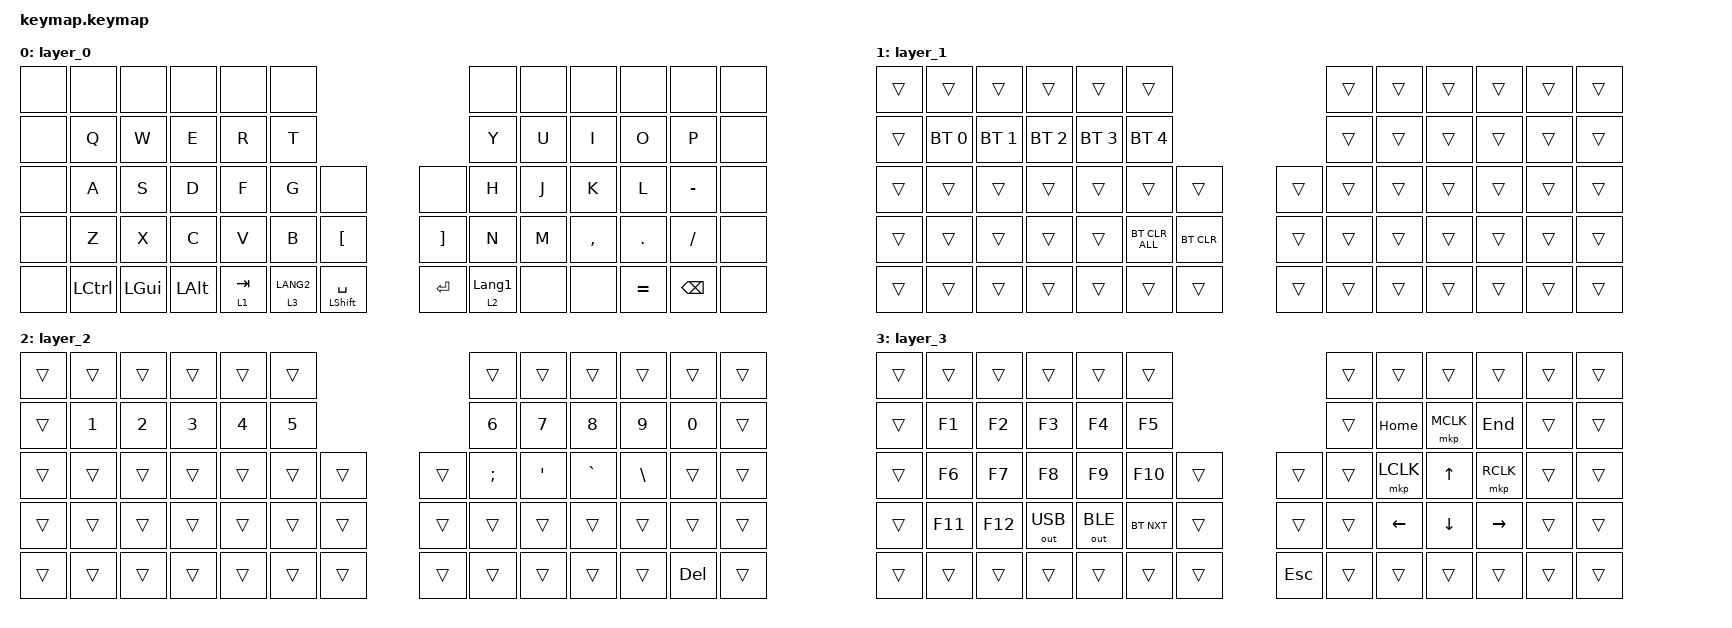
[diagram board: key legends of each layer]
#include <input/processors.dtsi>
#include <behaviors.dtsi>
#include <dt-bindings/zmk/bt.h>
#include <dt-bindings/zmk/keys.h>
#include <dt-bindings/zmk/outputs.h>
#include <dt-bindings/zmk/pointing.h>

/ {
    combos {
        compatible = "zmk,combos";

        bt_clear {
            bindings = <&bt BT_CLR>;
            key-positions = <28 29>;
            layers = <2>;
        };
    };

    behaviors {
        scroll_layer: scroll_layer {
            compatible = "zmk,behavior-hold-tap";
            label = "SCROLL_LAYER";
            bindings = <&mo>, <&kp>;

            #binding-cells = <2>;
            tapping-term-ms = <120>;
            flavor = "tap-preferred";
        };
    };

    keymap {
        compatible = "zmk,keymap";

        layer_0 {
            bindings = <
&none  &none      &none     &none     &none                &none                                                 &none             &none  &none      &none      &none          &none
&none  &kp Q      &kp W     &kp E     &kp R                &kp T                                                 &kp Y             &kp U  &kp I      &kp O      &kp P          &none
&none  &kp A      &kp S     &kp D     &kp F                &kp G        &none                 &none              &kp H             &kp J  &kp K      &kp L      &kp MINUS      &none
&none  &kp Z      &kp X     &kp C     &kp V                &kp B        &kp LEFT_BRACKET      &kp RIGHT_BRACKET  &kp N             &kp M  &kp COMMA  &kp DOT    &kp SLASH      &none
&none  &kp LCTRL  &kp LGUI  &kp LALT  &scroll_layer 1 TAB  &lt 3 LANG2  &mt LEFT_SHIFT SPACE  &kp ENTER          &lt 2 LANGUAGE_1  &none  &none      &kp EQUAL  &kp BACKSPACE  &none
            >;
        };

        layer_1 {
            bindings = <
&trans  &trans        &trans        &trans        &trans        &trans                              &trans  &trans  &trans  &trans  &trans  &trans
&trans  &bt BT_SEL 0  &bt BT_SEL 1  &bt BT_SEL 2  &bt BT_SEL 3  &bt BT_SEL 4                        &trans  &trans  &trans  &trans  &trans  &trans
&trans  &trans        &trans        &trans        &trans        &trans          &trans      &trans  &trans  &trans  &trans  &trans  &trans  &trans
&trans  &trans        &trans        &trans        &trans        &bt BT_CLR_ALL  &bt BT_CLR  &trans  &trans  &trans  &trans  &trans  &trans  &trans
&trans  &trans        &trans        &trans        &trans        &trans          &trans      &trans  &trans  &trans  &trans  &trans  &trans  &trans
            >;
        };

        layer_2 {
            bindings = <
&trans  &trans        &trans        &trans  &trans  &trans                  &trans    &trans            &trans     &trans         &trans      &trans
&trans  &kp NUMBER_1  &kp NUMBER_2  &kp N3  &kp N4  &kp N5                  &kp N6    &kp N7            &kp N8     &kp N9         &kp N0      &trans
&trans  &trans        &trans        &trans  &trans  &trans  &trans  &trans  &kp SEMI  &kp SINGLE_QUOTE  &kp GRAVE  &kp BACKSLASH  &trans      &trans
&trans  &trans        &trans        &trans  &trans  &trans  &trans  &trans  &trans    &trans            &trans     &trans         &trans      &trans
&trans  &trans        &trans        &trans  &trans  &trans  &trans  &trans  &trans    &trans            &trans     &trans         &kp DELETE  &trans
            >;
        };

        layer_3 {
            bindings = <
&trans  &trans   &trans   &trans        &trans        &trans                          &trans  &trans     &trans        &trans     &trans  &trans
&trans  &kp F1   &kp F2   &kp F3        &kp F4        &kp F5                          &trans  &kp HOME   &mkp MCLK     &kp END    &trans  &trans
&trans  &kp F6   &kp F7   &kp F8        &kp F9        &kp F10     &trans  &trans      &trans  &mkp LCLK  &kp UP_ARROW  &mkp RCLK  &trans  &trans
&trans  &kp F11  &kp F12  &out OUT_USB  &out OUT_BLE  &bt BT_NXT  &trans  &trans      &trans  &kp LEFT   &kp DOWN      &kp RIGHT  &trans  &trans
&trans  &trans   &trans   &trans        &trans        &trans      &trans  &kp ESCAPE  &trans  &trans     &trans        &trans     &trans  &trans
            >;
        };
    };
};

&pointing_listener {
    scroller {
        layers = <1>;
        input-processors = <
            &zip_xy_to_scroll_mapper
            &zip_scroll_scaler 2 3
        >;
    };
};
